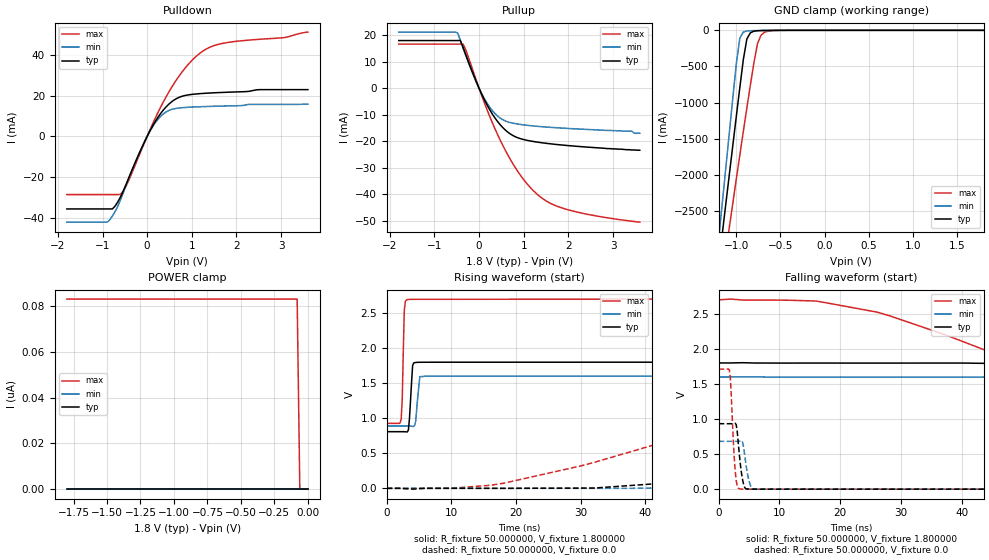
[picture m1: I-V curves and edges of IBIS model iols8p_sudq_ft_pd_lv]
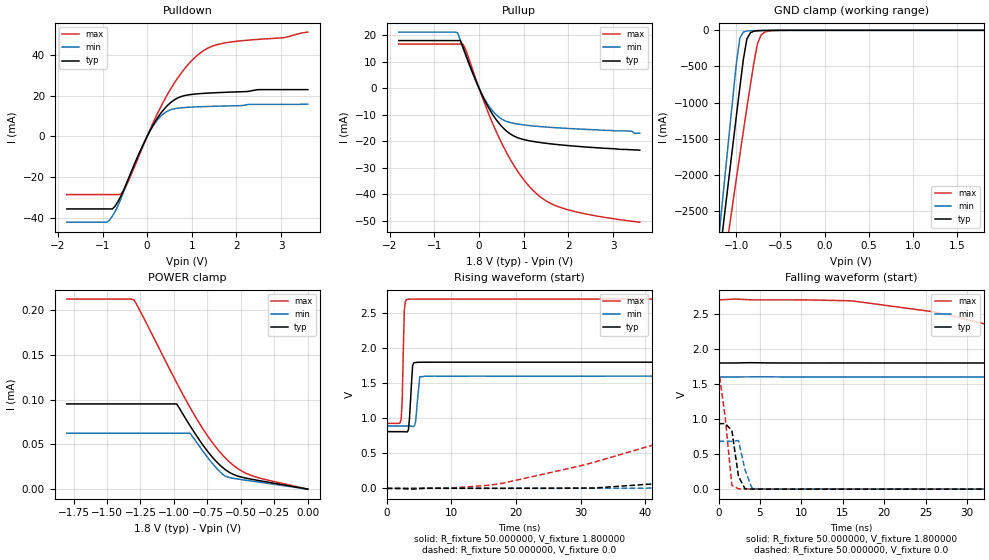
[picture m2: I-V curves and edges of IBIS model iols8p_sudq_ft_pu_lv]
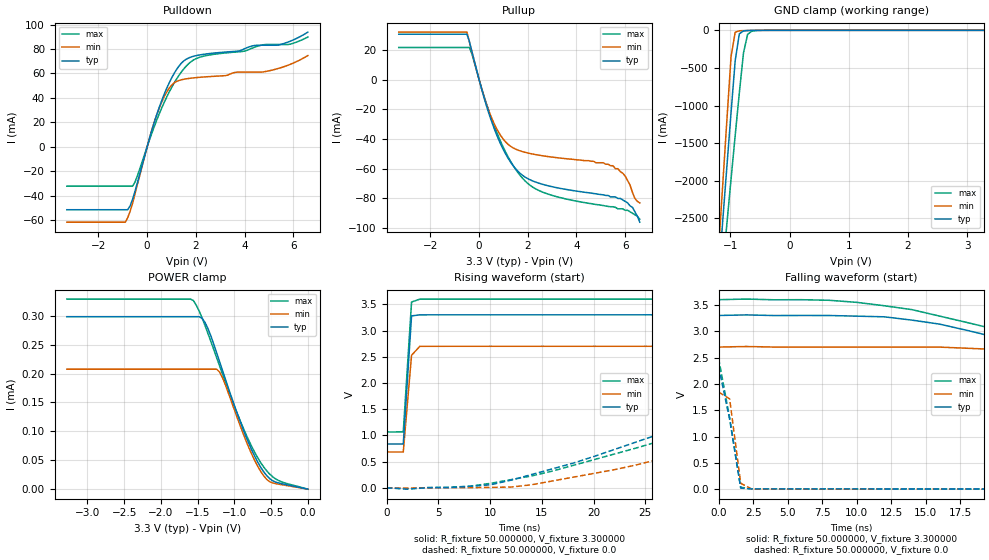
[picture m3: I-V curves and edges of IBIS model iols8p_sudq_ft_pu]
| IBIS file stm32c0_ufqfpn32.ibs
| Created by s2ibis version 1.1 (customized version)
| North Carolina State University, ERL, 2006
[IBIS ver] 4.2
[File name] stm32c0_ufqfpn32.ibs
[File Rev] 1.1
[Date]  08-08-2022
[Source] Data Created at STMicroelectronics
[Notes]  File originated from ELDO simulations.
[Disclaimer]  This information is for modeling purpose only and is
   not guaranted. The information is subject to change without
   notice.
[Copyright] Copyright 2013 STMicroelectronics Inc.
|   Component stm32c0_ufqfpn32
[Component] stm32c0_ufqfpn32
[Manufacturer] STMicroelectronics
[Package]
| variable   typ   min   max
R_pkg  0  NA  NA
L_pkg  0  NA  NA
C_pkg  0  NA  NA
[Pin]   signal_name   model_name
0  VSS  gnd
1  PB9  io8prog2m25m50m120m_sudq_i2c_ft
2  PC14  io8prog2m25m50m120m_sudq_i2c_ft
3  PC15  io8prog2m25m50m120m_sudq_ft
4  VDD  power
5  VSS  gnd
6  PF2  ioreset_ft_v33
7  PA0  io8prog2m25m50m120m_sudq_ft
8  PA1  io8prog2m25m50m120m_sudq_ft
9  PA2  io8prog2m25m50m120m_sudq_ft
10  PA3  io8prog2m25m50m120m_sudq_ft
11  PA4  io8prog2m25m50m120m_sudq_ft
12  PA5  io8prog2m25m50m120m_sudq_ft
13  PA6  io8prog2m25m50m120m_sudq_ft
14  PA7  io8prog2m25m50m120m_sudq_ft
15  PB0  io8prog2m25m50m120m_sudq_ft
16  PB1  io8prog2m25m50m120m_sudq_ft
17  PB2  io8prog2m25m50m120m_sudq_ft
18  PA8  io8prog2m25m50m120m_sudq_ft
19  PA9  io8prog2m25m50m120m_sudq_i2c_ft
20  PC6  io8prog2m25m50m120m_sudq_ft
21  PA10  io8prog2m25m50m120m_sudq_i2c_ft
22  PA11  io8prog2m25m50m120m_sudq_i2c_ft
23  PA12  io8prog2m25m50m120m_sudq_i2c_ft
24  PA13  io8prog2m25m50m120m_sudq_ft
25  PA14  io8prog2m25m50m120m_sudq_ft
26  PA15  io8prog2m25m50m120m_sudq_ft
27  PB3  io8prog2m25m50m120m_sudq_ft
28  PB4  io8prog2m25m50m120m_sudq_ft
29  PB5  io8prog2m25m50m120m_sudq_i2c_ft
30  PB6  io8prog2m25m50m120m_sudq_i2c_ft
31  PB7  io8prog2m25m50m120m_sudq_i2c_ft
32  PB8  io8prog2m25m50m120m_sudq_i2c_ft
[Package Model]   453-ufqfpn-5x5-32l-220520
[Pin Mapping]   pulldown_ref   pullup_ref   | Comment
0  gndio  nc
1  gndio  vddiom
2  gndio  vddiom
3  gndio  vddiom
4  nc  vddiom
5  gndio  nc
6  gndio  vddiom
7  gndio  vddiom
8  gndio  vddiom
9  gndio  vddiom
10  gndio  vddiom
11  gndio  vddiom
12  gndio  vddiom
13  gndio  vddiom
14  gndio  vddiom
15  gndio  vddiom
16  gndio  vddiom
17  gndio  vddiom
18  gndio  vddiom
19  gndio  vddiom
20  gndio  vddiom
21  gndio  vddiom
22  gndio  vddiom
23  gndio  vddiom
24  gndio  vddiom
25  gndio  vddiom
26  gndio  vddiom
27  gndio  vddiom
28  gndio  vddiom
29  gndio  vddiom
30  gndio  vddiom
31  gndio  vddiom
32  gndio  vddiom
[Model Selector] io8prog2m25m50m120m_sudq_ft
iols8p_sudq_ft_pd_lv  "IO low speed, PD=40kOhm - 1P8V"
iols8p_sudq_ft_pu_lv  "IO low speed, PU=40kOhm - 1P8V"
iols8p_sudq_ft_lv  "IO low speed - 1P8V"
iols8p_sudq_ft_pd  "IO low speed, PD=40kOhm - 3P3V"
iols8p_sudq_ft_pu  "IO low speed, PU=40kOhm - 3P3V"
iols8p_sudq_ft  "IO low speed - 3P3V"
iofs8p_sudq_ft_pd_lv  "IO full speed, PD=40kOhm - 1P8V"
iofs8p_sudq_ft_pu_lv  "IO full speed, PU=40kOhm - 1P8V"
iofs8p_sudq_ft_lv  "IO full speed - 1P8V"
iofs8p_sudq_ft_pd  "IO full speed, PD=40kOhm - 3P3V"
iofs8p_sudq_ft_pu  "IO full speed, PU=40kOhm - 3P3V"
iofs8p_sudq_ft  "IO full speed - 3P3V"
ioms8p_sudq_ft_pd_lv  "IO medium speed, PD=40kOhm - 1P8V"
ioms8p_sudq_ft_pu_lv  "IO medium speed, PU=40kOhm - 1P8V"
ioms8p_sudq_ft_lv  "IO medium speed - 1P8V"
ioms8p_sudq_ft_pd  "IO medium speed, PD=40kOhm - 3P3V"
ioms8p_sudq_ft_pu  "IO medium speed, PU=40kOhm - 3P3V"
ioms8p_sudq_ft  "IO medium speed - 3P3V"
iohs8p_sudq_ft_pd_lv  "IO high speed, PD=40kOhm - 1P8V"
iohs8p_sudq_ft_pu_lv  "IO high speed, PU=40kOhm - 1P8V"
iohs8p_sudq_ft_lv  "IO high speed - 1P8V"
iohs8p_sudq_ft_pd  "IO high speed, PD=40kOhm - 3P3V"
iohs8p_sudq_ft_pu  "IO high speed, PU=40kOhm - 3P3V"
iohs8p_sudq_ft  "IO high speed - 3P3V"
[Model Selector] io8prog2m25m50m120m_sudq_i2c_ft
io8prog_1v8_i2c_pd  "5V Tol GPIO 1.8V range i2c functionality with pull down"
io8prog_1v8_i2c_pu  "5V Tol GPIO 1.8V range i2c functionality with pull up"
io8prog_1v8_i2c  "5V Tol GPIO 1.8V range i2c functionality"
io8prog_3v3_i2c_pd  "5V Tol GPIO 3.3V range i2c functionality with pull down"
io8prog_3v3_i2c_pu  "5V Tol GPIO 3.3V range i2c functionality with pull up"
io8prog_3v3_i2c  "5V Tol GPIO 3.3V range i2c functionality"
iols8p_sudq_ft_pd_lv  "IO low speed, PD=40kOhm - 1P8V"
iols8p_sudq_ft_pu_lv  "IO low speed, PU=40kOhm - 1P8V"
iols8p_sudq_ft_lv  "IO low speed - 1P8V"
iols8p_sudq_ft_pd  "IO low speed, PD=40kOhm - 3P3V"
iols8p_sudq_ft_pu  "IO low speed, PU=40kOhm - 3P3V"
iols8p_sudq_ft  "IO low speed - 3P3V"
iofs8p_sudq_ft_pd_lv  "IO full speed, PD=40kOhm - 1P8V"
iofs8p_sudq_ft_pu_lv  "IO full speed, PU=40kOhm - 1P8V"
iofs8p_sudq_ft_lv  "IO full speed - 1P8V"
iofs8p_sudq_ft_pd  "IO full speed, PD=40kOhm - 3P3V"
iofs8p_sudq_ft_pu  "IO full speed, PU=40kOhm - 3P3V"
iofs8p_sudq_ft  "IO full speed - 3P3V"
ioms8p_sudq_ft_pd_lv  "IO medium speed, PD=40kOhm - 1P8V"
ioms8p_sudq_ft_pu_lv  "IO medium speed, PU=40kOhm - 1P8V"
ioms8p_sudq_ft_lv  "IO medium speed - 1P8V"
ioms8p_sudq_ft_pd  "IO medium speed, PD=40kOhm - 3P3V"
ioms8p_sudq_ft_pu  "IO medium speed, PU=40kOhm - 3P3V"
ioms8p_sudq_ft  "IO medium speed - 3P3V"
iohs8p_sudq_ft_pd_lv  "IO high speed, PD=40kOhm - 1P8V"
iohs8p_sudq_ft_pu_lv  "IO high speed, PU=40kOhm - 1P8V"
iohs8p_sudq_ft_lv  "IO high speed - 1P8V"
iohs8p_sudq_ft_pd  "IO high speed, PD=40kOhm - 3P3V"
iohs8p_sudq_ft_pu  "IO high speed, PU=40kOhm - 3P3V"
iohs8p_sudq_ft  "IO high speed - 3P3V"
[Model Selector] ioreset_ft_v33
ioreset_1v2_pu  "RESET 1.2V range with PU"
ioreset_1v2  "RESET 1.2V range"
ioreset_1v8_pu  "RESET 1.8V range with PU"
ioreset_1v8  "RESET 1.8V range"
ioreset_3v3_pu  "RESET 3.3V range with PU"
ioreset_3v3  "RESET 3.3V range"
[Define Package Model]  453-ufqfpn-5x5-32l-220520
[Manufacturer]  Unknown
[OEM]  Unknown
[Description]  None
[Number Of Pins]  32
[Pin Numbers]
| Pin Num   Terminal Name
7 | PA0
21 | PA10
22 | PA11
23 | PA12
24 | PA13
25 | PA14
26 | PA15
8 | PA1
9 | PA2
10 | PA3
11 | PA4
12 | PA5
13 | PA6
14 | PA7
18 | PA8
19 | PA9
15 | PB0
16 | PB1
17 | PB2
27 | PB3
28 | PB4
29 | PB5
30 | PB6
31 | PB7
32 | PB8
1 | PB9
2 | PC14
3 | PC15
20 | PC6
6 | PF2
4 | VDD
0 | VSS
|[Merged Pins]  0
|5  |  VSS
[Model Data]
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[End Model Data]
[End Package Model]
| Models and submodels in the file (36): iols8p_sudq_ft_pd_lv (I/O), iols8p_sudq_ft_pu_lv (I/O), iols8p_sudq_ft_lv (I/O), iols8p_sudq_ft_pd (I/O), iols8p_sudq_ft_pu (I/O), iols8p_sudq_ft (I/O), iofs8p_sudq_ft_pd_lv (I/O), iofs8p_sudq_ft_pu_lv (I/O), iofs8p_sudq_ft_lv (I/O), iofs8p_sudq_ft_pd (I/O), iofs8p_sudq_ft_pu (I/O), iofs8p_sudq_ft (I/O), ioms8p_sudq_ft_pd_lv (I/O), ioms8p_sudq_ft_pu_lv (I/O), ioms8p_sudq_ft_lv (I/O), ioms8p_sudq_ft_pd (I/O), ioms8p_sudq_ft_pu (I/O), ioms8p_sudq_ft (I/O), iohs8p_sudq_ft_pd_lv (I/O), iohs8p_sudq_ft_pu_lv (I/O), iohs8p_sudq_ft_lv (I/O), iohs8p_sudq_ft_pd (I/O), iohs8p_sudq_ft_pu (I/O), iohs8p_sudq_ft (I/O), io8prog_1v8_i2c_pd (I/O_open_drain), io8prog_1v8_i2c_pu (I/O_open_drain), io8prog_1v8_i2c (I/O_open_drain), io8prog_3v3_i2c_pd (I/O_open_drain), io8prog_3v3_i2c_pu (I/O_open_drain), io8prog_3v3_i2c (I/O_open_drain), ioreset_1v2_pu (I/O_open_drain), ioreset_1v2 (I/O_open_drain), ioreset_1v8_pu (I/O_open_drain), ioreset_1v8 (I/O_open_drain), ioreset_3v3_pu (I/O_open_drain), ioreset_3v3 (I/O_open_drain)
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|   Model iols8p_sudq_ft_pd_lv
[Model]  iols8p_sudq_ft_pd_lv
Model_type I/O
Polarity   Non-Inverting
Enable   Active-Low
Vinl =   0.540000V
Vinh =   1.260000V
Vmeas =  0.900000V
Cref =   50.000000pF
Rref =   100.000000M
Vref =   0.0V
C_comp   1.984800pF   1.899400pF   2.077500pF
[Temperature Range]   25.000000   -40.000000   0.125000k
[Pullup Reference]   1.800000V   1.600000V   2.700000V
[Pulldown Reference]   0.0V   0.0V   0.0V
[POWER Clamp Reference]   1.800000V   1.600000V   2.700000V
[GND Clamp Reference]   0.0V   0.0V   0.0V
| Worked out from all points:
|   slope of the pulldown table from 0 to 0.27 V, typ, clamps not added: 26.4 ohm
|   slope of the pullup table from 0 to 0.27 V, typ, clamps not added: 30.1 ohm
|   GND clamp passes 1 mA (typ) near -0.60 V on its own axis
|   rising waveform, R_fixture 50.000000, V_fixture 1.800000: 20-80 % time 379ps typ, 423ps min, 266ps max; typ from 0.808 V to 1.8 V
|   rising waveform, R_fixture 50.000000, V_fixture 0.0: 20-80 % time 67.1ns typ, 74.3ns min, 45.1ns max; typ from 0 V to 0.933 V
|   falling waveform, R_fixture 50.000000, V_fixture 1.800000: 20-80 % time 73ns typ, 83ns min, 37.6ns max; typ from 1.8 V to 0.808 V
|   falling waveform, R_fixture 50.000000, V_fixture 0.0: 20-80 % time 692ps typ, 757ps min, 595ps max; typ from 0.933 V to 0 V
[Pulldown]
|Voltage   I(typ)   I(min)   I(max)
-1.8V     -35.64mA   -42.15mA   -28.59mA
-900mV    -35.64mA   -42.15mA   -28.59mA
-780mV    -35.64mA   -39.2mA    -28.59mA
-600mV    -29.83mA   -31.31mA   -28.52mA
-420mV    -20.8mA    -21.07mA   -21.98mA
60mV      2.604mA    2.459mA    3.062mA
240mV     9.303mA    8.31mA     11.61mA
480mV     15.67mA    12.64mA    21.52mA
720mV     19.18mA    13.91mA    29.74mA
960mV     20.46mA    14.3mA     36.27mA
1.44V     21.29mA    14.7mA     44.06mA
3.6V      22.91mA    15.79mA    51.15mA
[Pullup]
|Voltage   I(typ)   I(min)   I(max)
-1.8V     18.05mA    21.25mA    16.71mA
-540mV    18.05mA    21.25mA    16.71mA
-480mV    18.05mA    20.95mA    16.71mA
-420mV    18.05mA    18.11mA    16.71mA
-360mV    15.57mA    15.21mA    16.71mA
60mV      -2.268mA   -2.095mA   -2.822mA
360mV     -11.31mA   -9.605mA   -15.45mA
600mV     -15.96mA   -12.42mA   -23.82mA
840mV     -18.52mA   -13.44mA   -30.72mA
1.38V     -20.52mA   -14.47mA   -41.14mA
2.1V      -21.8mA    -15.27mA   -46.39mA
3.6V      -23.4mA    -17mA      -50.6mA
[GND_clamp]
|Voltage   I(typ)   I(min)   I(max)
-1.8V     -9.477A    -9.805A    -9.016A
-1.2V     -3.243A    -2.9A      -3.759A
-1.16V    -2.83A     -2.409A    -3.417A
-1.12V    -2.418A    -1.919A    -3.076A
-1.08V    -2.008A    -1.431A    -2.736A
-1V       -1.194A    -466mA     -2.061A
-960mV    -792.8mA   -108.7mA   -1.727A
-920mV    -402mA     -24.36mA   -1.396A
-880mV    -117.8mA   -9.2mA     -1.071A
-760mV    -5.909mA   -2.892mA   -183.8mA
-680mV    -2.407mA   -1.111mA   -26.63mA
1.8V      47.61uA    33.87uA    60.56uA
[POWER_clamp]
|Voltage   I(typ)   I(min)   I(max)
-1.8V     0A         0A         83.17nA
-80mV     0A         0A         83.17nA
-60mV     0A         0A         0A
0V        0A         0A         0A
[Ramp]
| variable   typ   min   max
dV/dt_r  0.56030/67.04771n   0.40892/74.21097n   1.02690/44.96516n
dV/dt_f  0.59467/72.90760n   0.42644/82.87002n   1.06358/37.57082n
R_load = 50.000000
[Rising Waveform]
R_fixture= 50.000000
V_fixture= 1.800000
V_fixture_min= 1.600000
V_fixture_max= 2.700000
|time   V(typ)   V(min)   V(max)
0s        807.9mV    888.7mV    926.1mV
2.242ns   808mV      888.7mV    991.1mV
2.402ns   807.9mV    888.7mV    1.267V
2.723ns   807.2mV    888.7mV    2.536V
3.203ns   805.4mV    888.8mV    2.691V
4.004ns   1.746V     882.7mV    2.695V
4.484ns   1.794V     959.1mV    2.695V
5.125ns   1.797V     1.592V     2.695V
5.766ns   1.798V     1.599V     2.695V
79.76ns   1.799V     1.599V     2.699V
[Rising Waveform]
R_fixture= 50.000000
V_fixture= 0.0
V_fixture_min= 0.0
V_fixture_max= 0.0
|time   V(typ)   V(min)   V(max)
0s        2.012nV    1.787nV    174.5nV
18.02ns   -344.8uV   -50.09uV   71.38mV
32.03ns   3.824mV    -26.62uV   368.3mV
62.06ns   204.9mV    72.66mV    1.126V
80.08ns   382mV      156.4mV    1.425V
98.1ns    559.2mV    285.8mV    1.568V
138.1ns   787.9mV    493.3mV    1.675V
174.2ns   872mV      629.9mV    1.696V
240.2ns   928mV      674mV      1.71V
997ns     933.5mV    681.5mV    1.711V
[Falling Waveform]
R_fixture= 50.000000
V_fixture= 1.800000
V_fixture_min= 1.600000
V_fixture_max= 2.700000
|time   V(typ)   V(min)   V(max)
0s        1.799V     1.599V     2.699V
16.02ns   1.798V     1.598V     2.682V
26.03ns   1.798V     1.598V     2.524V
64.06ns   1.735V     1.598V     1.385V
76.08ns   1.645V     1.598V     1.183V
118.1ns   1.274V     1.513V     993.2mV
162.2ns   968.9mV    1.273V     950.7mV
214.2ns   864.7mV    1.023V     933.3mV
300.3ns   821mV      917.9mV    926.2mV
997ns     807.9mV    888.7mV    926.1mV
[Falling Waveform]
R_fixture= 50.000000
V_fixture= 0.0
V_fixture_min= 0.0
V_fixture_max= 0.0
|time   V(typ)   V(min)   V(max)
0s        933.5mV    681.5mV    1.711V
1.762ns   933.5mV    681.5mV    1.701V
1.922ns   933.4mV    681.5mV    1.598V
2.723ns   939.8mV    681.4mV    260.7mV
3.043ns   837.1mV    681mV      50.52mV
3.524ns   395.1mV    687.2mV    3.387mV
4.324ns   18.45mV    464.2mV    311.9uV
5.125ns   915.5uV    79.36mV    150.2uV
5.766ns   240.1uV    2.922mV    125.4uV
79.76ns   2.012nV    1.787nV    174.5nV
|   Model iols8p_sudq_ft_pu_lv
[Model]  iols8p_sudq_ft_pu_lv
Model_type I/O
Polarity   Non-Inverting
Enable   Active-Low
Vinl =   0.540000V
Vinh =   1.260000V
Vmeas =  0.900000V
Cref =   50.000000pF
Rref =   100.000000M
Vref =   0.0V
C_comp   1.984800pF   1.899400pF   2.077500pF
[Temperature Range]   25.000000   -40.000000   0.125000k
[Pullup Reference]   1.800000V   1.600000V   2.700000V
[Pulldown Reference]   0.0V   0.0V   0.0V
[POWER Clamp Reference]   1.800000V   1.600000V   2.700000V
[GND Clamp Reference]   0.0V   0.0V   0.0V
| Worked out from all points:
|   slope of the pulldown table from 0 to 0.27 V, typ, clamps not added: 26.4 ohm
|   slope of the pullup table from 0 to 0.27 V, typ, clamps not added: 30.1 ohm
|   GND clamp passes 1 mA (typ) near -0.61 V on its own axis
|   rising waveform, R_fixture 50.000000, V_fixture 1.800000: 20-80 % time 379ps typ, 423ps min, 265ps max; typ from 0.81 V to 1.8 V
|   rising waveform, R_fixture 50.000000, V_fixture 0.0: 20-80 % time 68.6ns typ, 74.3ns min, 45.2ns max; typ from 0.001 V to 0.935 V
|   falling waveform, R_fixture 50.000000, V_fixture 1.800000: 20-80 % time 72.7ns typ, 95.3ns min, 37.6ns max; typ from 1.8 V to 0.81 V
|   falling waveform, R_fixture 50.000000, V_fixture 0.0: 20-80 % time 683ps typ, 950ps min, 966ps max; typ from 0.935 V to 0.001 V
[Pulldown]
|Voltage   I(typ)   I(min)   I(max)
-1.8V     -35.64mA   -42.15mA   -28.59mA
-900mV    -35.64mA   -42.15mA   -28.59mA
-780mV    -35.64mA   -39.2mA    -28.59mA
-600mV    -29.83mA   -31.3mA    -28.52mA
-420mV    -20.8mA    -21.07mA   -21.98mA
60mV      2.604mA    2.459mA    3.062mA
240mV     9.303mA    8.31mA     11.61mA
480mV     15.67mA    12.64mA    21.52mA
720mV     19.18mA    13.9mA     29.74mA
960mV     20.46mA    14.3mA     36.27mA
1.44V     21.29mA    14.7mA     44.06mA
3.6V      22.91mA    15.79mA    51.15mA
[Pullup]
|Voltage   I(typ)   I(min)   I(max)
-1.8V     18.05mA    21.25mA    16.71mA
-540mV    18.05mA    21.25mA    16.71mA
-480mV    18.05mA    20.96mA    16.71mA
-420mV    18.05mA    18.11mA    16.71mA
-360mV    15.57mA    15.21mA    16.71mA
60mV      -2.268mA   -2.095mA   -2.822mA
360mV     -11.31mA   -9.605mA   -15.45mA
600mV     -15.96mA   -12.42mA   -23.82mA
840mV     -18.52mA   -13.44mA   -30.72mA
1.38V     -20.52mA   -14.48mA   -41.14mA
2.1V      -21.8mA    -15.27mA   -46.39mA
3.6V      -23.4mA    -17mA      -50.6mA
[GND_clamp]
|Voltage   I(typ)   I(min)   I(max)
-1.8V     -9.477A    -9.805A    -9.016A
-1.2V     -3.243A    -2.9A      -3.759A
-1.16V    -2.83A     -2.409A    -3.417A
-1.12V    -2.418A    -1.919A    -3.076A
-1.08V    -2.008A    -1.431A    -2.736A
-1V       -1.194A    -466mA     -2.061A
-960mV    -792.8mA   -108.7mA   -1.727A
-920mV    -402mA     -24.35mA   -1.396A
-880mV    -117.8mA   -9.188mA   -1.071A
-760mV    -5.896mA   -2.88mA    -183.8mA
-680mV    -2.395mA   -1.099mA   -26.61mA
1.8V      0A         0A         0A
[POWER_clamp]
|Voltage   I(typ)   I(min)   I(max)
-1.8V     95.27uA    62.52uA    212.4uA
-1.3V     95.27uA    62.52uA    211.7uA
-1.24V    95.27uA    62.52uA    195.4uA
-980mV    95.27uA    62.52uA    119uA
-880mV    70.93uA    62.52uA    91.35uA
-740mV    40.61uA    33.79uA    57.65uA
-640mV    24.64uA    16.99uA    38.63uA
-600mV    20.11uA    13.6uA     32.43uA
-540mV    15.51uA    11.72uA    24.8uA
-440mV    11.66uA    9.491uA    16.35uA
-340mV    8.934uA    7.326uA    11.65uA
0V        0A         0A         0A
[Ramp]
| variable   typ   min   max
dV/dt_r  0.56095/68.67975n   0.40953/74.27229n   1.02717/44.98407n
dV/dt_f  0.59405/72.60739n   0.42589/95.26095n   1.06315/37.53994n
R_load = 50.000000
[Rising Waveform]
R_fixture= 50.000000
V_fixture= 1.800000
V_fixture_min= 1.600000
V_fixture_max= 2.700000
|time   V(typ)   V(min)   V(max)
0s        809.8mV    890.3mV    928.1mV
2.242ns   809.8mV    890.3mV    993.3mV
2.402ns   809.8mV    890.3mV    1.271V
2.723ns   809mV      890.3mV    2.541V
3.203ns   807.2mV    890.4mV    2.695V
4.004ns   1.748V     884.3mV    2.699V
4.484ns   1.796V     960.8mV    2.699V
5.125ns   1.799V     1.593V     2.7V
5.766ns   1.8V       1.6V       2.7V
79.76ns   1.8V       1.6V       2.7V
[Rising Waveform]
R_fixture= 50.000000
V_fixture= 0.0
V_fixture_min= 0.0
V_fixture_max= 0.0
|time   V(typ)   V(min)   V(max)
0s        727.8uV    547uV      1.255mV
18.02ns   2.02mV     1.674mV    75.77mV
32.03ns   6.18mV     1.697mV    372.5mV
62.06ns   209.3mV    74.21mV    1.129V
80.08ns   398.5mV    158mV      1.429V
104.1ns   610.5mV    330.5mV    1.601V
126.1ns   738.8mV    448.3mV    1.661V
174.2ns   885.5mV    630.8mV    1.704V
248.2ns   930.2mV    683.3mV    1.714V
997ns     935.3mV    683.1mV    1.714V
[Falling Waveform]
R_fixture= 50.000000
V_fixture= 1.800000
V_fixture_min= 1.600000
V_fixture_max= 2.700000
|time   V(typ)   V(min)   V(max)
0s        1.8V       1.6V       2.7V
16.02ns   1.8V       1.6V       2.687V
26.03ns   1.8V       1.6V       2.529V
64.06ns   1.737V     1.6V       1.391V
76.08ns   1.647V     1.6V       1.186V
120.1ns   1.255V     1.504V     992.1mV
160.2ns   977.5mV    1.286V     953.6mV
200.2ns   882.5mV    1.065V     936.8mV
314.3ns   819.5mV    908.5mV    928.2mV
997ns     809.8mV    890.3mV    928.1mV
[Falling Waveform]
R_fixture= 50.000000
V_fixture= 0.0
V_fixture_min= 0.0
V_fixture_max= 0.0
|time   V(typ)   V(min)   V(max)
0s        935.3mV    683.1mV    1.714V
800.8ps   935.3mV    683.1mV    1.021V
1.602ns   838.7mV    682.5mV    55.24mV
2.402ns   181.5mV    693.4mV    5.324mV
3.203ns   4.882mV    272.1mV    4.519mV
4.004ns   1.823mV    19.9mV     4.432mV
4.805ns   1.435mV    1.988mV    4.408mV
79.28ns   727.8uV    547uV      1.255mV
|   Model iols8p_sudq_ft_pu
[Model]  iols8p_sudq_ft_pu
Model_type I/O
Polarity   Non-Inverting
Enable   Active-Low
Vinl =   0.990000V
Vinh =   2.310000V
Vmeas =  1.650000V
Cref =   50.000000pF
Rref =   100.000000M
Vref =   0.0V
C_comp   2.036400pF   1.984000pF   2.082300pF
[Temperature Range]   25.000000   -40.000000   0.125000k
[Pullup Reference]   3.300000V   2.700000V   3.600000V
[Pulldown Reference]   0.0V   0.0V   0.0V
[POWER Clamp Reference]   3.300000V   2.700000V   3.600000V
[GND Clamp Reference]   0.0V   0.0V   0.0V
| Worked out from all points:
|   slope of the pulldown table from 0 to 0.495 V, typ, clamps not added: 15.4 ohm
|   slope of the pullup table from 0 to 0.495 V, typ, clamps not added: 18.1 ohm
|   GND clamp passes 1 mA (typ) near -0.60 V on its own axis
|   rising waveform, R_fixture 50.000000, V_fixture 3.300000: 20-80 % time 485ps typ, 525ps min, 492ps max; typ from 0.836 V to 3.3 V
|   rising waveform, R_fixture 50.000000, V_fixture 0.0: 20-80 % time 24.4ns typ, 26.2ns min, 30.7ns max; typ from 0.001 V to 2.33 V
|   falling waveform, R_fixture 50.000000, V_fixture 3.300000: 20-80 % time 21.2ns typ, 25.4ns min, 23.9ns max; typ from 3.3 V to 0.836 V
|   falling waveform, R_fixture 50.000000, V_fixture 0.0: 20-80 % time 956ps typ, 552ps min, 969ps max; typ from 2.33 V to 0.001 V
[Pulldown]
|Voltage   I(typ)   I(min)   I(max)
-3.3V     -51.62mA   -61.84mA   -32.32mA
-900mV    -51.62mA   -61.84mA   -32.32mA
-800mV    -51.62mA   -58.24mA   -32.32mA
-500mV    -36.51mA   -38.7mA    -28.96mA
400mV     26.66mA    26.58mA    22.18mA
800mV     47.72mA    44.74mA    40.6mA
1.1V      59.79mA    52.18mA    51.93mA
1.5V      70.22mA    55.24mA    63.66mA
2.1V      74.97mA    56.75mA    72.88mA
4.9V      83.13mA    61.75mA    83.74mA
5.8V      85.85mA    66.87mA    83.74mA
6.6V      93.9mA     74.68mA    89.84mA
[Pullup]
|Voltage   I(typ)   I(min)   I(max)
-3.3V     30.51mA    31.92mA    21.54mA
-500mV    30.51mA    31.92mA    21.54mA
-300mV    19.24mA    18.93mA    17.46mA
500mV     -27.53mA   -25.31mA   -25.83mA
1V        -47.29mA   -40.29mA   -45.86mA
1.5V      -60.05mA   -46.83mA   -60.43mA
2V        -66.7mA    -49.43mA   -69.91mA
2.7V      -70.92mA   -51.53mA   -76.32mA
5.5V      -79mA      -58mA      -85.6mA
6V        -82mA      -65mA      -88mA
6.3V      -86mA      -76mA      -90mA
6.6V      -96mA      -83mA      -94mA
[GND_clamp]
|Voltage   I(typ)   I(min)   I(max)
-3.3V     -9.812A    -9.822A    -9.937A
-1.2V     -3.251A    -2.905A    -3.763A
-1.13V    -2.527A    -2.046A    -3.165A
-1.06V    -1.808A    -1.191A    -2.57A
-990mV    -1.097A    -352.6mA   -1.979A
-920mV    -404.2mA   -25.08mA   -1.398A
-850mV    -46.53mA   -6.503mA   -832.3mA
-780mV    -8.496mA   -3.578mA   -302.4mA
-710mV    -3.383mA   -1.716mA   -53.8mA
-640mV    -1.589mA   -553.8uA   -11.72mA
-360mV    -2.023uA   0A         -84.67uA
3.28V     0A         0A         0A
[POWER_clamp]
|Voltage   I(typ)   I(min)   I(max)
-3.28V    298.2uA    207.4uA    328.7uA
-1.56V    298.2uA    207.4uA    326.5uA
-1.48V    298.2uA    207.4uA    308.2uA
-1.4V     288.5uA    207.4uA    283.1uA
-1.24V    235.4uA    207.4uA    226.9uA
-1.2V     220.1uA    202.1uA    212.7uA
-1.12V    189.4uA    179.6uA    184.4uA
-920mV    116.5uA    109.4uA    118.1uA
-680mV    46.31uA    39.06uA    53.8uA
-560mV    23.38uA    16.91uA    31.65uA
-480mV    14.66uA    10.76uA    21.51uA
0V        0A         0A         0A
[Ramp]
| variable   typ   min   max
dV/dt_r  1.39432/24.32907n   1.10712/26.03302n   1.49022/30.66754n
dV/dt_f  1.47837/21.11983n   1.20959/25.32351n   1.52028/23.79583n
R_load = 50.000000
[Rising Waveform]
R_fixture= 50.000000
V_fixture= 3.300000
V_fixture_min= 2.700000
V_fixture_max= 3.600000
|time   V(typ)   V(min)   V(max)
0s        836mV      684mV      1.066V
1.602ns   835.8mV    683.5mV    1.067V
2.402ns   3.279V     2.529V     3.543V
3.203ns   3.299V     2.699V     3.598V
79.28ns   3.3V       2.7V       3.6V
[Rising Waveform]
R_fixture= 50.000000
V_fixture= 0.0
V_fixture_min= 0.0
V_fixture_max= 0.0
|time   V(typ)   V(min)   V(max)
0s        932.5uV    605.4uV    1.507mV
10.01ns   58.21mV    9.253mV    85.87mV
14.01ns   255mV      59.61mV    227.5mV
22.02ns   733mV      347.4mV    646.1mV
34.03ns   1.487V     931.9mV    1.309V
46.05ns   1.978V     1.401V     1.857V
58.06ns   2.166V     1.659V     2.17V
86.09ns   2.285V     1.807V     2.399V
188.2ns   2.326V     1.846V     2.486V
997ns     2.325V     1.846V     2.486V
[Falling Waveform]
R_fixture= 50.000000
V_fixture= 3.300000
V_fixture_min= 2.700000
V_fixture_max= 3.600000
|time   V(typ)   V(min)   V(max)
0s        3.3V       2.7V       3.6V
8.008ns   3.3V       2.7V       3.589V
16.02ns   3.136V     2.699V     3.289V
24.02ns   2.583V     2.575V     2.745V
38.04ns   1.562V     1.936V     1.818V
46.05ns   1.184V     1.512V     1.461V
54.05ns   1.038V     1.14V      1.302V
62.06ns   969.1mV    930.8mV    1.229V
88.09ns   885.8mV    756.3mV    1.123V
997ns     836mV      684mV      1.066V
[Falling Waveform]
R_fixture= 50.000000
V_fixture= 0.0
V_fixture_min= 0.0
V_fixture_max= 0.0
|time   V(typ)   V(min)   V(max)
0s        2.325V     1.846V     2.486V
800.8ps   1.327V     1.716V     1.355V
1.602ns   20.24mV    111mV      36.22mV
2.402ns   4.804mV    3.818mV    6.652mV
79.28ns   932.5uV    605.4uV    1.507mV
